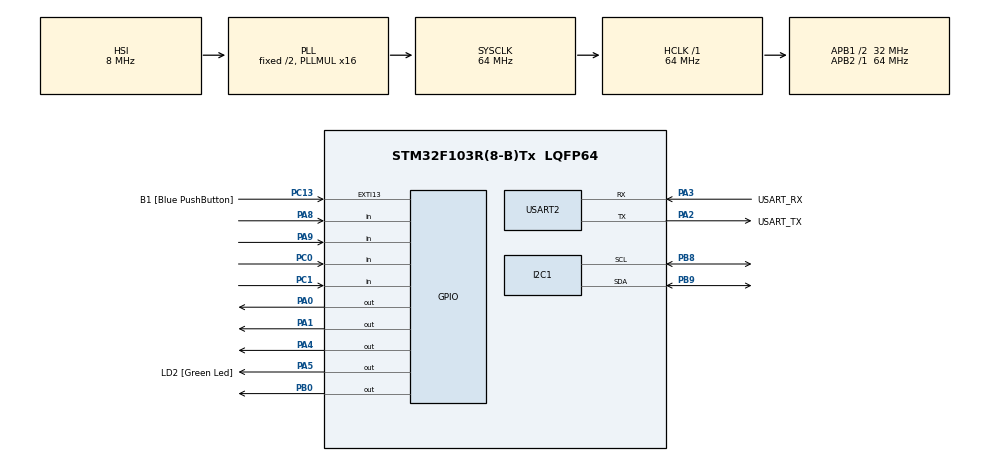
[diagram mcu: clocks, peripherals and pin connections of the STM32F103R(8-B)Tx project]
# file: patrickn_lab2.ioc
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Mcu.Family=STM32F1
Mcu.Name=STM32F103R(8-B)Tx
Mcu.Package=LQFP64
NVIC.EXTI15_10_IRQn=true\:0\:0\:false\:false\:true\:true\:true\:true
NVIC.PriorityGroup=NVIC_PRIORITYGROUP_4
PA0-WKUP.Signal=GPIO_Output
PA1.Signal=GPIO_Output
PA13.GPIO_Label=TMS
PA13.Mode=Serial_Wire
PA13.Signal=SYS_JTMS-SWDIO
PA14.GPIO_Label=TCK
PA14.Mode=Serial_Wire
PA14.Signal=SYS_JTCK-SWCLK
PA2.GPIO_Label=USART_TX
PA2.GPIO_Mode=GPIO_MODE_AF_PP
PA2.GPIO_PuPd=GPIO_NOPULL
PA2.GPIO_Speed=GPIO_SPEED_FREQ_LOW
PA2.Mode=Asynchronous
PA2.Signal=USART2_TX
PA3.GPIO_Label=USART_RX
PA3.GPIO_Mode=GPIO_MODE_AF_PP
PA3.GPIO_PuPd=GPIO_NOPULL
PA3.GPIO_Speed=GPIO_SPEED_FREQ_LOW
PA3.Mode=Asynchronous
PA3.Signal=USART2_RX
PA4.Signal=GPIO_Output
PA5.GPIO_Label=LD2 [Green Led]
PA5.GPIO_ModeDefaultOutputPP=GPIO_MODE_OUTPUT_PP
PA5.GPIO_PuPd=GPIO_NOPULL
PA5.GPIO_Speed=GPIO_SPEED_FREQ_LOW
PA5.Signal=GPIO_Output
PA8.GPIO_PuPd=GPIO_PULLDOWN
PA8.Signal=GPIO_Input
PA9.GPIO_PuPd=GPIO_PULLDOWN
PA9.Signal=GPIO_Input
PB0.Signal=GPIO_Output
PB3.GPIO_Label=SWO
PB3.Signal=SYS_JTDO-TRACESWO
PB8.Mode=I2C
PB8.Signal=I2C1_SCL
PB9.Mode=I2C
PB9.Signal=I2C1_SDA
PC0.GPIO_PuPd=GPIO_PULLDOWN
PC0.Signal=GPIO_Input
PC1.GPIO_PuPd=GPIO_PULLDOWN
PC1.Signal=GPIO_Input
PC13-TAMPER-RTC.GPIO_Label=B1 [Blue PushButton]
PC13-TAMPER-RTC.GPIO_PuPd=GPIO_NOPULL
PC13-TAMPER-RTC.Signal=GPXTI13
PC14-OSC32_IN.Mode=LSE-External-Oscillator
PC14-OSC32_IN.Signal=RCC_OSC32_IN
PC15-OSC32_OUT.Mode=LSE-External-Oscillator
PC15-OSC32_OUT.Signal=RCC_OSC32_OUT
PD0-OSC_IN.Mode=HSE-External-Clock-Source
PD0-OSC_IN.Signal=RCC_OSC_IN
PD1-OSC_OUT.Mode=HSE-External-Clock-Source
PD1-OSC_OUT.Signal=RCC_OSC_OUT
ProjectManager.HeapSize=0x200
ProjectManager.StackSize=0x400
ProjectManager.TargetToolchain=STM32CubeIDE
RCC.AHBFreq_Value=64000000
RCC.APB1CLKDivider=RCC_HCLK_DIV2
RCC.APB1Freq_Value=32000000
RCC.APB1TimFreq_Value=64000000
RCC.APB2Freq_Value=64000000
RCC.APB2TimFreq_Value=64000000
RCC.HCLKFreq_Value=64000000
RCC.PLLMUL=RCC_PLL_MUL16
RCC.RTCClockSelection=RCC_RTCCLKSOURCE_LSE
RCC.SYSCLKFreq_VALUE=64000000
RCC.SYSCLKSource=RCC_SYSCLKSOURCE_PLLCLK
RCC.USBFreq_Value=64000000
USART2.VirtualMode=VM_ASYNC
board=NUCLEO-F103RB

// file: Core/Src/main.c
/* USER CODE BEGIN Header */
/**
  ******************************************************************************
  * @file           : main.c
  * @brief          : Main program body
  ******************************************************************************
  * @attention
  *
  * Copyright (c) 2026 STMicroelectronics.
  * All rights reserved.
  *
  * This software is licensed under terms that can be found in the LICENSE file
  * in the root directory of this software component.
  * If no LICENSE file comes with this software, it is provided AS-IS.
  *
  ******************************************************************************
  */
/* USER CODE END Header */
#include "main.h"

/* USER CODE BEGIN Includes */
#include "stm32f1xx_hal.h"

/* USER CODE END Includes */

I2C_HandleTypeDef hi2c1;

UART_HandleTypeDef huart2;

void SystemClock_Config(void);
static void MX_GPIO_Init(void);
static void MX_I2C1_Init(void);
static void MX_USART2_UART_Init(void);

/* USER CODE BEGIN 0 */
/* USER CODE BEGIN 0 */
#include <stdbool.h>
#include <stdio.h>
#include <string.h>
// --- ROWS (Outputs) ---
// Wired to A0, A1, A2, A3
#define R1_PORT GPIOA
#define R1_PIN GPIO_PIN_0  // A0
#define R2_PORT GPIOA
#define R2_PIN GPIO_PIN_1  // A1
#define R3_PORT GPIOA
#define R3_PIN GPIO_PIN_4  // A2
#define R4_PORT GPIOB
#define R4_PIN GPIO_PIN_0  // A3

// --- COLUMNS (Inputs) ---
// Wired to A4, A5, D7, D8
#define C1_PORT GPIOC
#define C1_PIN GPIO_PIN_1  // A4
#define C2_PORT GPIOC
#define C2_PIN GPIO_PIN_0  // A5
#define C3_PORT GPIOA
#define C3_PIN GPIO_PIN_8  // D7
#define C4_PORT GPIOA
#define C4_PIN GPIO_PIN_9  // D8

char read_keypad(void)
{
    // 1. Reset all Rows to LOW
    HAL_GPIO_WritePin(R1_PORT, R1_PIN, GPIO_PIN_RESET);
    HAL_GPIO_WritePin(R2_PORT, R2_PIN, GPIO_PIN_RESET);
    HAL_GPIO_WritePin(R3_PORT, R3_PIN, GPIO_PIN_RESET);
    HAL_GPIO_WritePin(R4_PORT, R4_PIN, GPIO_PIN_RESET);

    // --- SCAN ROW 1 ---
    HAL_GPIO_WritePin(R1_PORT, R1_PIN, GPIO_PIN_SET);
    HAL_Delay(10);
    if (HAL_GPIO_ReadPin(C1_PORT, C1_PIN)) return '1';
    if (HAL_GPIO_ReadPin(C2_PORT, C2_PIN)) return '2';
    if (HAL_GPIO_ReadPin(C3_PORT, C3_PIN)) return '3';
    if (HAL_GPIO_ReadPin(C4_PORT, C4_PIN)) return 'A';
    HAL_GPIO_WritePin(R1_PORT, R1_PIN, GPIO_PIN_RESET);

    // --- SCAN ROW 2 ---
    HAL_GPIO_WritePin(R2_PORT, R2_PIN, GPIO_PIN_SET);
    HAL_Delay(10);
    if (HAL_GPIO_ReadPin(C1_PORT, C1_PIN)) return '4';
    if (HAL_GPIO_ReadPin(C2_PORT, C2_PIN)) return '5';
    if (HAL_GPIO_ReadPin(C3_PORT, C3_PIN)) return '6';
    if (HAL_GPIO_ReadPin(C4_PORT, C4_PIN)) return 'B';
    HAL_GPIO_WritePin(R2_PORT, R2_PIN, GPIO_PIN_RESET);

    // --- SCAN ROW 3 ---
    HAL_GPIO_WritePin(R3_PORT, R3_PIN, GPIO_PIN_SET);
    HAL_Delay(10);
    if (HAL_GPIO_ReadPin(C1_PORT, C1_PIN)) return '7';
    if (HAL_GPIO_ReadPin(C2_PORT, C2_PIN)) return '8';
    if (HAL_GPIO_ReadPin(C3_PORT, C3_PIN)) return '9';
    if (HAL_GPIO_ReadPin(C4_PORT, C4_PIN)) return 'C';
    HAL_GPIO_WritePin(R3_PORT, R3_PIN, GPIO_PIN_RESET);

    // --- SCAN ROW 4 ---
    HAL_GPIO_WritePin(R4_PORT, R4_PIN, GPIO_PIN_SET);
    HAL_Delay(10);
    if (HAL_GPIO_ReadPin(C1_PORT, C1_PIN)) return '*';
    if (HAL_GPIO_ReadPin(C2_PORT, C2_PIN)) return '0';
    if (HAL_GPIO_ReadPin(C3_PORT, C3_PIN)) return '#';
    if (HAL_GPIO_ReadPin(C4_PORT, C4_PIN)) return 'D';
    HAL_GPIO_WritePin(R4_PORT, R4_PIN, GPIO_PIN_RESET);

    return 0;
}
/* USER CODE END 0 */

int main(void)
{

  /* MCU Configuration--------------------------------------------------------*/
  HAL_Init();

  /* Configure the system clock */
  SystemClock_Config();

  /* Initialize all configured peripherals */
  MX_GPIO_Init();
  MX_I2C1_Init();
  MX_USART2_UART_Init();

  /* USER CODE BEGIN 2 */
  // --- 1. Initialize LCD ---
  HD44780_Init(2);
  HD44780_Clear();
  HD44780_Backlight();

  // --- 2. Intro Message ---
  HD44780_SetCursor(0,0);
  HD44780_PrintStr("Ready to Type...");
  HAL_Delay(2000); // Show message for 2 seconds
  HD44780_Clear(); // Clear screen for input

  // --- 3. variables ---
  char key;
  char msg[30];
  char lcd_str[2]; // Buffer to hold one char + null terminator

  // Track the cursor position
  int lcd_col = 0;
  int lcd_row = 0;

  /* USER CODE END 2 */

  /* Infinite loop */
  while (1)
  {

    /* USER CODE BEGIN 3 */
    key = read_keypad();

    if (key != 0)
    {
        // --- Option A: Debug to PC ---
        sprintf(msg, "Key: %c\r\n", key);
        HAL_UART_Transmit(&huart2, (uint8_t*)msg, strlen(msg), 100);

        // --- Option B: Display on LCD ---

        // CASE 1: Next Row Button (#)
        if (key == '#')
        {
            lcd_row++;           // Move to next row
            if (lcd_row > 1) {   // If we go past row 1...
                lcd_row = 0;     // ...loop back to top row
            }
            lcd_col = 0;         // Reset to start of line
            HD44780_SetCursor(lcd_col, lcd_row);
        }

        // CASE 2: Clear Screen Button (*)
        else if (key == '*')
        {
            HD44780_Clear();
            lcd_col = 0;
            lcd_row = 0;
        }

        // CASE 3: Normal Character
        else
        {
            // Only print if we haven't reached the end of the line (No Overflow)
            if (lcd_col < 16)
            {
                lcd_str[0] = key;  // Put key in string
                lcd_str[1] = '\0'; // Null terminate
                HD44780_PrintStr(lcd_str);

                lcd_col++; // Move our cursor tracker
            }
        }

        HAL_Delay(200); // Debounce delay
    }
  }
  /* USER CODE END 3 */
}

void SystemClock_Config(void)
{
  RCC_OscInitTypeDef RCC_OscInitStruct = {0};
  RCC_ClkInitTypeDef RCC_ClkInitStruct = {0};

  /** Initializes the RCC Oscillators according to the specified parameters
  * in the RCC_OscInitTypeDef structure.
  */
  RCC_OscInitStruct.OscillatorType = RCC_OSCILLATORTYPE_HSI;
  RCC_OscInitStruct.HSIState = RCC_HSI_ON;
  RCC_OscInitStruct.HSICalibrationValue = RCC_HSICALIBRATION_DEFAULT;
  RCC_OscInitStruct.PLL.PLLState = RCC_PLL_ON;
  RCC_OscInitStruct.PLL.PLLSource = RCC_PLLSOURCE_HSI_DIV2;
  RCC_OscInitStruct.PLL.PLLMUL = RCC_PLL_MUL16;
  if (HAL_RCC_OscConfig(&RCC_OscInitStruct) != HAL_OK)
  {
    Error_Handler();
  }

  /** Initializes the CPU, AHB and APB buses clocks
  */
  RCC_ClkInitStruct.ClockType = RCC_CLOCKTYPE_HCLK|RCC_CLOCKTYPE_SYSCLK
                              |RCC_CLOCKTYPE_PCLK1|RCC_CLOCKTYPE_PCLK2;
  RCC_ClkInitStruct.SYSCLKSource = RCC_SYSCLKSOURCE_PLLCLK;
  RCC_ClkInitStruct.AHBCLKDivider = RCC_SYSCLK_DIV1;
  RCC_ClkInitStruct.APB1CLKDivider = RCC_HCLK_DIV2;
  RCC_ClkInitStruct.APB2CLKDivider = RCC_HCLK_DIV1;

  if (HAL_RCC_ClockConfig(&RCC_ClkInitStruct, FLASH_LATENCY_2) != HAL_OK)
  {
    Error_Handler();
  }
}

static void MX_I2C1_Init(void)
{

  hi2c1.Instance = I2C1;
  hi2c1.Init.ClockSpeed = 100000;
  hi2c1.Init.DutyCycle = I2C_DUTYCYCLE_2;
  hi2c1.Init.OwnAddress1 = 0;
  hi2c1.Init.AddressingMode = I2C_ADDRESSINGMODE_7BIT;
  hi2c1.Init.DualAddressMode = I2C_DUALADDRESS_DISABLE;
  hi2c1.Init.OwnAddress2 = 0;
  hi2c1.Init.GeneralCallMode = I2C_GENERALCALL_DISABLE;
  hi2c1.Init.NoStretchMode = I2C_NOSTRETCH_DISABLE;
  if (HAL_I2C_Init(&hi2c1) != HAL_OK)
  {
    Error_Handler();
  }

}

static void MX_USART2_UART_Init(void)
{

  huart2.Instance = USART2;
  huart2.Init.BaudRate = 115200;
  huart2.Init.WordLength = UART_WORDLENGTH_8B;
  huart2.Init.StopBits = UART_STOPBITS_1;
  huart2.Init.Parity = UART_PARITY_NONE;
  huart2.Init.Mode = UART_MODE_TX_RX;
  huart2.Init.HwFlowCtl = UART_HWCONTROL_NONE;
  huart2.Init.OverSampling = UART_OVERSAMPLING_16;
  if (HAL_UART_Init(&huart2) != HAL_OK)
  {
    Error_Handler();
  }

}

static void MX_GPIO_Init(void)
{
  GPIO_InitTypeDef GPIO_InitStruct = {0};

  /* GPIO Ports Clock Enable */
  __HAL_RCC_GPIOC_CLK_ENABLE();
  __HAL_RCC_GPIOD_CLK_ENABLE();
  __HAL_RCC_GPIOA_CLK_ENABLE();
  __HAL_RCC_GPIOB_CLK_ENABLE();

  /*Configure GPIO pin Output Level */
  HAL_GPIO_WritePin(GPIOA, GPIO_PIN_0|GPIO_PIN_1|GPIO_PIN_4|LD2_Pin, GPIO_PIN_RESET);

  /*Configure GPIO pin Output Level */
  HAL_GPIO_WritePin(GPIOB, GPIO_PIN_0, GPIO_PIN_RESET);

  /*Configure GPIO pin : B1_Pin */
  GPIO_InitStruct.Pin = B1_Pin;
  GPIO_InitStruct.Mode = GPIO_MODE_IT_RISING;
  GPIO_InitStruct.Pull = GPIO_NOPULL;
  HAL_GPIO_Init(B1_GPIO_Port, &GPIO_InitStruct);

  /*Configure GPIO pins : PC0 PC1 */
  GPIO_InitStruct.Pin = GPIO_PIN_0|GPIO_PIN_1;
  GPIO_InitStruct.Mode = GPIO_MODE_INPUT;
  GPIO_InitStruct.Pull = GPIO_PULLDOWN;
  HAL_GPIO_Init(GPIOC, &GPIO_InitStruct);

  /*Configure GPIO pins : PA0 PA1 PA4 LD2_Pin */
  GPIO_InitStruct.Pin = GPIO_PIN_0|GPIO_PIN_1|GPIO_PIN_4|LD2_Pin;
  GPIO_InitStruct.Mode = GPIO_MODE_OUTPUT_PP;
  GPIO_InitStruct.Pull = GPIO_NOPULL;
  GPIO_InitStruct.Speed = GPIO_SPEED_FREQ_LOW;
  HAL_GPIO_Init(GPIOA, &GPIO_InitStruct);

  /*Configure GPIO pin : PB0 */
  GPIO_InitStruct.Pin = GPIO_PIN_0;
  GPIO_InitStruct.Mode = GPIO_MODE_OUTPUT_PP;
  GPIO_InitStruct.Pull = GPIO_NOPULL;
  GPIO_InitStruct.Speed = GPIO_SPEED_FREQ_LOW;
  HAL_GPIO_Init(GPIOB, &GPIO_InitStruct);

  /*Configure GPIO pins : PA8 PA9 */
  GPIO_InitStruct.Pin = GPIO_PIN_8|GPIO_PIN_9;
  GPIO_InitStruct.Mode = GPIO_MODE_INPUT;
  GPIO_InitStruct.Pull = GPIO_PULLDOWN;
  HAL_GPIO_Init(GPIOA, &GPIO_InitStruct);

  /* EXTI interrupt init*/
  HAL_NVIC_SetPriority(EXTI15_10_IRQn, 0, 0);
  HAL_NVIC_EnableIRQ(EXTI15_10_IRQn);

}

void Error_Handler(void)
{
  __disable_irq();
  while (1)
  {
  }
}
